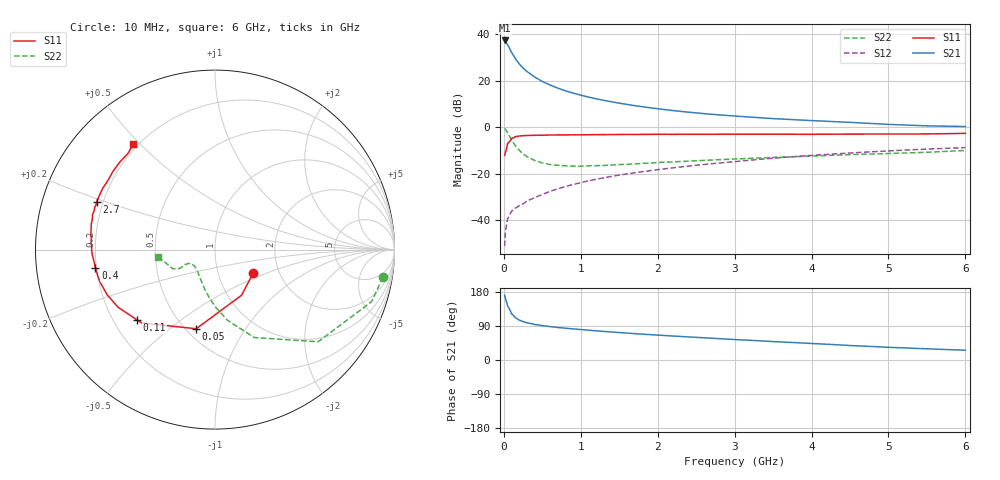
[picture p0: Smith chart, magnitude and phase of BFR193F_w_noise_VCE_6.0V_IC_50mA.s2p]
! Infineon Technologies  Discrete & RF Semiconductors
! BFR193F
! VCE =  6.0 V,  IC =  50 mA
! Common Emitter S-Parameters:  Jan 2017
# GHz  S  MA  R  50
!  f  S11  S21  S12  S22
! GHz  MAG  ANG  MAG  ANG  MAG  ANG  MAG  ANG
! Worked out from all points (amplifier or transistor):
!   77 points, 10 MHz to 6 GHz, reference 50 ohm
!   highest |S21| = 37.3 dB at 10 MHz (marker M1)
!   |S21| within 3 dB of that: start of sweep to 67.28 MHz
!   unconditionally stable (mu >= 1): 923.2 MHz to 2.527 GHz
!   at 130 MHz: K = 0.48, MSG = 32.9 dB, |S12| = -35.2 dB
!   at 2.2 GHz: K = 1.01, MAG = 11.6 dB, |S12| = -17.4 dB
!   at 6 GHz: K = 0.86, MSG = 4.5 dB, |S12| = -8.7 dB
!   lowest NFmin = 1.48 dB at 450 MHz
!   S11 on the Smith chart (normalised r, x): 10 MHz: 1.47, -0.41; 50 MHz: 0.56, -0.62; 110 MHz: 0.30, -0.35; 400 MHz: 0.20, -0.07; 2.7 GHz: 0.18, +0.19; 6 GHz: 0.18, +0.48
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0.01  0.25 -31.9  73.57 171.2  0.0028 86.4  0.9476 -9.3
0.02  0.2945 -59.9  71.14 162.5  0.0054 79.7  0.9196 -18.4
0.05  0.4533 -103.4  59.09 142.0  0.0109 65.6  0.7704 -41.8
0.1  0.5779 -135.0  40.68 121.8  0.0157 53.6  0.5367 -65.9
0.11  0.585 -138.0  38.41 120.2  0.0162 53.1  0.5075 -68.1
0.15  0.6286 -149.3  29.75 111.6  0.0183 51.5  0.4006 -79.9
0.2  0.6512 -157.2  23.12 105.3  0.0207 53.6  0.3225 -89.1
0.25  0.6618 -162.7  18.8 101.2  0.0227 55.8  0.269 -96.8
0.3  0.6688 -166.2  15.85 98.3  0.0261 58.5  0.2369 -102.8
0.4  0.6744 -171.3  12.01 93.7  0.0307 62.0  0.1945 -112.6
0.5  0.6778 -174.8  9.674 90.7  0.0361 64.7  0.1721 -120.2
0.6  0.6841 -177.5  8.103 88.1  0.0421 67.4  0.1589 -126.5
0.7  0.6874 -179.7  6.968 85.8  0.0477 69.0  0.153 -131.4
0.9  0.6919 176.9  5.445 82.1  0.0592 71.2  0.1469 -139.2
1.1  0.6951 173.9  4.469 78.6  0.071 72.6  0.1491 -144.1
1.5  0.7023 169.2  3.309 72.5  0.0943 73.2  0.1583 -150.2
2.1  0.7085 163.2  2.401 64.5  0.1291 73.3  0.1783 -153.1
2.7  0.7098 158.2  1.911 57.5  0.1652 72.3  0.1984 -153.0
3.1  0.7111 154.8  1.707 53.0  0.1901 71.4  0.2122 -152.0
4.1  0.7108 146.1  1.373 42.6  0.2561 67.3  0.2442 -153.6
5.1  0.7205 136.4  1.141 32.7  0.3175 61.7  0.2775 -162.8
6  0.7424 127.9  1.042 25.8  0.3674 56.5  0.319 -172.4
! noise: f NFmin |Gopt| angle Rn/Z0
0.45  1.48  0.47  -179  0.07
0.9  1.56  0.48  -178  0.08
1.9  2.14  0.6  -163  0.09
2.4  2.45  0.62  -155  0.15
